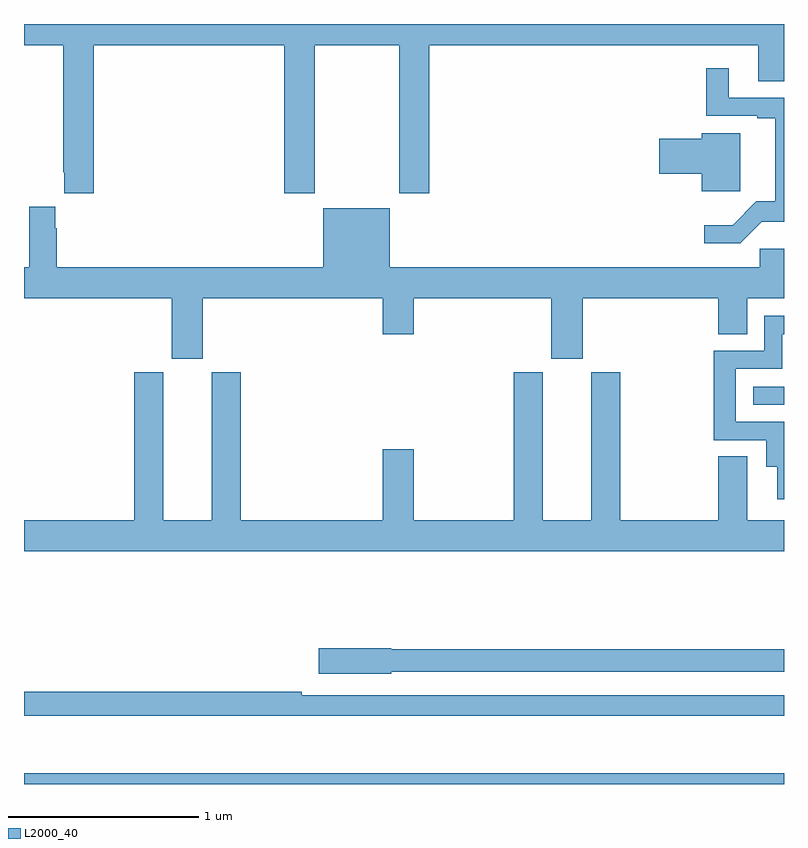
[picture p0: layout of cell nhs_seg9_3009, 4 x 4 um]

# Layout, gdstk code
import gdstk
lib = gdstk.Library(unit=1e-6, precision=1e-09)
def R(c, l, rs):  # rectangles x0, y0, x1, y1
    for r in rs: c.add(gdstk.rectangle(r[:2], r[2:], *l))
def P(c, l, *ps):  # polygons
    for p in ps: c.add(gdstk.Polygon(p, *l))
L2000_40 = (2000, 40)

nhs_seg9_3009 = lib.new_cell('nhs_seg9_3009')
R(nhs_seg9_3009, L2000_40, [(283,1224.5,287,1224.556), (286.839,1226.496,287,1226.592)])
P(nhs_seg9_3009, L2000_40, [(283.367,1228.388),(284.369,1228.388),(284.369,1227.609),(284.529,1227.609),(284.529,1228.388),(284.974,1228.388),(284.974,1227.609),(285.134,1227.609),(285.134,1228.388),(286.865,1228.388),(286.865,1228.198),(287,1228.198),(287,1228.5),(283,1228.5),(283,1228.388),(283.207,1228.388),(283.207,1227.721),(283.211,1227.721),(283.211,1227.609),(283.367,1227.609)],
  [(286.883,1227.458),(287,1227.458),(287,1228.113),(286.708,1228.113),(286.708,1228.267),(286.591,1228.267),(286.591,1228.017),(286.859,1228.017),(286.859,1228.005),(286.955,1228.005),(286.955,1227.568),(286.855,1227.568),(286.729,1227.442),(286.581,1227.442),(286.581,1227.345),(286.77,1227.345)],
  [(286.771,1227.925),(286.568,1227.925),(286.568,1227.896),(286.344,1227.896),(286.344,1227.713),(286.568,1227.713),(286.568,1227.62),(286.771,1227.62)],
  [(283.942,1227.056),(284.888,1227.056),(284.888,1226.868),(285.052,1226.868),(285.052,1227.056),(285.776,1227.056),(285.776,1226.739),(285.94,1226.739),(285.94,1227.056),(286.655,1227.056),(286.655,1226.866),(286.807,1226.866),(286.807,1227.056),(287,1227.056),(287,1227.318),(286.872,1227.318),(286.872,1227.22),(284.926,1227.22),(284.926,1227.529),(284.576,1227.529),(284.576,1227.22),(283.172,1227.22),(283.172,1227.425),(283.165,1227.425),(283.165,1227.538),(283.028,1227.538),(283.028,1227.22),(283,1227.22),(283,1227.056),(283.778,1227.056),(283.778,1226.739),(283.942,1226.739)],
  [(287,1226.406),(286.746,1226.406),(286.746,1226.685),(286.992,1226.685),(286.992,1226.868),(287,1226.868),(287,1226.964),(286.896,1226.964),(286.896,1226.781),(286.63,1226.781),(286.63,1226.31),(286.907,1226.31),(286.907,1226.171),(286.964,1226.171),(286.964,1226),(287,1226)],
  [(287,1225.888),(286.807,1225.888),(286.807,1226.225),(286.655,1226.225),(286.655,1225.888),(286.139,1225.888),(286.139,1226.667),(285.986,1226.667),(285.986,1225.888),(285.73,1225.888),(285.73,1226.667),(285.578,1226.667),(285.578,1225.888),(285.052,1225.888),(285.052,1226.263),(284.888,1226.263),(284.888,1225.888),(284.141,1225.888),(284.141,1226.667),(283.988,1226.667),(283.988,1225.888),(283.732,1225.888),(283.732,1226.667),(283.58,1226.667),(283.58,1225.888),(283,1225.888),(283,1225.724),(287,1225.724)],
  [(284.934,1225.092),(287,1225.092),(287,1225.208),(284.934,1225.208),(284.934,1225.214),(284.55,1225.214),(284.55,1225.079),(284.934,1225.079)],
  [(287,1224.966),(284.462,1224.966),(284.462,1224.986),(283,1224.986),(283,1224.858),(287,1224.858)])

lib.write_gds('nhs_seg9_3009.gds')
